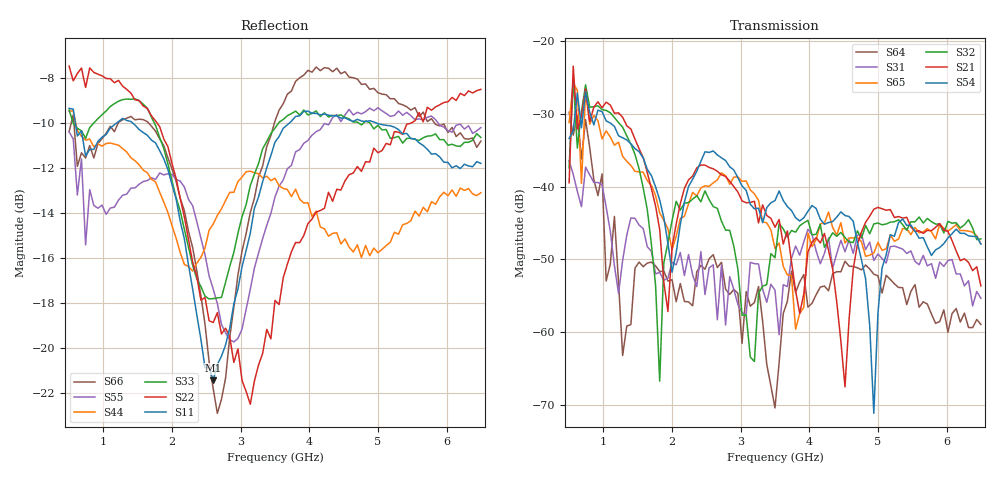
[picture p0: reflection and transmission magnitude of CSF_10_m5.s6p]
!Keysight Technologies,M9804A,MY58100912,A.14.10.03
!Date: Thursday, April 27, 2023 10:28:33
!Correction: S11(C  6-Port  )
!S12(C  6-Port  )
!S13(C  6-Port  )
!S14(C  6-Port  )
!S15(C  6-Port  )
!S16(C  6-Port  )
!S21(C  6-Port  )
!S22(C  6-Port  )
!S23(C  6-Port  )
!S24(C  6-Port  )
!S25(C  6-Port  )
!S26(C  6-Port  )
!S31(C  6-Port  )
!S32(C  6-Port  )
!S33(C  6-Port  )
!S34(C  6-Port  )
!S35(C  6-Port  )
!S36(C  6-Port  )
!S41(C  6-Port  )
!S42(C  6-Port  )
!S43(C  6-Port  )
!S44(C  6-Port  )
!S45(C  6-Port  )
!S46(C  6-Port  )
!S51(C  6-Port  )
!S52(C  6-Port  )
!S53(C  6-Port  )
!S54(C  6-Port  )
!S55(C  6-Port  )
!S56(C  6-Port  )
!S61(C  6-Port  )
!S62(C  6-Port  )
!S63(C  6-Port  )
!S64(C  6-Port  )
!S65(C  6-Port  )
!S66(C  6-Port  )
!S6P File: Measurement: :
# Hz S  RI  R 50
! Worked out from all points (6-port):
!   101 points, 500 MHz to 6.5 GHz, reference 50 ohm
!   strongest paths, dB at 500 MHz, 2 GHz, 3.5 GHz, 5 GHz, 6.5 GHz:
!     S54: -33.4, -51.8, -41.9, -57.4, -47.9
!     S21: -39.5, -48.3, -45.6, -42.9, -53.7
!     S32: -37.4, -44.7, -49.8, -45.0, -47.2
!     S65: -31.2, -48.7, -48.5, -47.7, -47.9
!     S31: -36.4, -50.4, -54.2, -49.3, -55.4
!     S64: -29.8, -52.8, -70.5, -52.3, -59.0
!   lowest |S11| = -21.4 dB at 2.6 GHz (marker M1), VSWR 1.19, Z = 42.5 + j2.17 ohm
!   |S11| at or under -10 dB: 590.4 MHz to 1.197 GHz (606.9 MHz wide, 67.9 % of centre); 1.422 GHz to 3.714 GHz (2.292 GHz wide, 89.3 % of centre); 4.969 GHz to end of sweep
